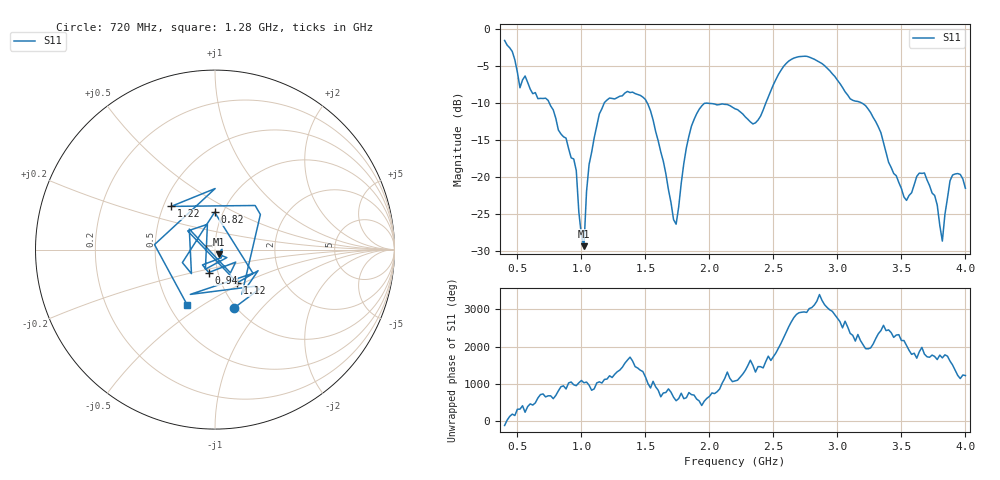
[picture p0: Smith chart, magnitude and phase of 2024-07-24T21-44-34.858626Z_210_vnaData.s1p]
!Created with skrf (http://scikit-rf.org).
# Hz S RI R 50.0
!freq ReS11 ImS11
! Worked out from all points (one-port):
!   181 points, 400 MHz to 4 GHz, reference 50 ohm
!   lowest |S11| = -29.4 dB at 1.02 GHz (marker M1), VSWR 1.07, Z = 52 - j2.8 ohm
!   |S11| at or under -10 dB: 1.516 GHz to 1.973 GHz (457.1 MHz wide, 26.2 % of centre); 1.986 GHz to 2.44 GHz (453.9 MHz wide, 20.5 % of centre); 3.193 GHz to end of sweep (the widest 3 of 4)
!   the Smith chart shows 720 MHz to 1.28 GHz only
!   S11 on the Smith chart (normalised r, x): 720 MHz: 0.98, -0.72; 820 MHz: 0.91, +0.40; 940 MHz: 0.90, -0.23; 1.12 GHz: 1.19, -0.46; 1.22 GHz: 0.55, +0.30; 1.28 GHz: 0.62, -0.43
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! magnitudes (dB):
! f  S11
! 400 MHz  -1.5
! 520 MHz  -7.9
! 720 MHz  -9.3
! 820 MHz  -13.6
! 860 MHz  -14.5
! 940 MHz  -17.6
! 1.02 GHz  -29.4
! 1.06 GHz  -18.3
! 1.12 GHz  -13.0
! 1.22 GHz  -9.3
! 1.28 GHz  -9.2
! 1.3 GHz  -9.1
! 1.5 GHz  -9.5
! 1.72 GHz  -25.8
! 1.76 GHz  -24.1
! 1.82 GHz  -16.1
! 1.92 GHz  -10.8
! 2.2 GHz  -10.8
! 2.36 GHz  -12.7
! 2.66 GHz  -3.9
! 3.1 GHz  -9.4
! 3.26 GHz  -11.3
! 3.56 GHz  -22.5
! 3.68 GHz  -19.5
! 3.78 GHz  -23.8
! 3.82 GHz  -28.7
! 3.88 GHz  -20.5
! 4 GHz  -21.5
